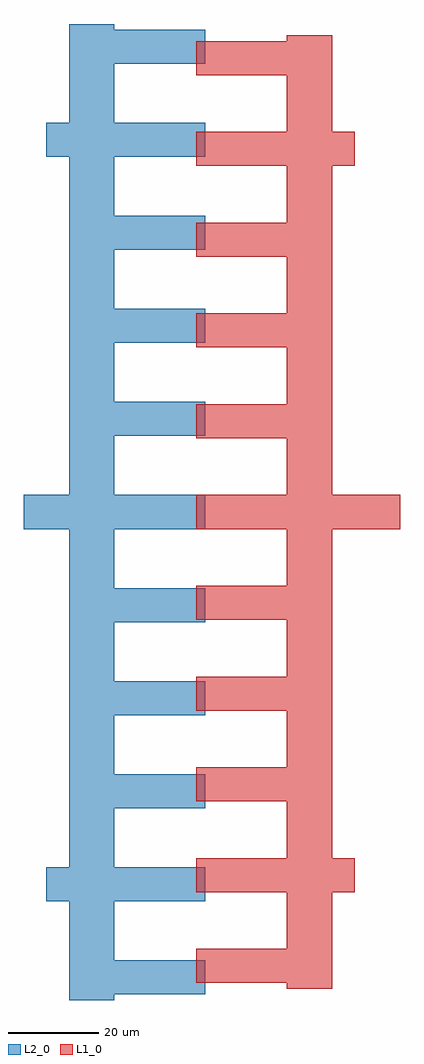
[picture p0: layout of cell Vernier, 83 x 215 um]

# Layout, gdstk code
import gdstk
lib = gdstk.Library(unit=1e-6, precision=1e-09)
def R(c, l, rs):  # rectangles x0, y0, x1, y1
    for r in rs: c.add(gdstk.rectangle(r[:2], r[2:], *l))
def A(c, l, x, y, w, h, nx, ny, dx, dy):  # array of equal rectangles
    R(c, l, [(x+i*dx, y+j*dy, x+i*dx+w, y+j*dy+h) for i in range(nx) for j in range(ny)])
L1_0 = (1, 0)
L2_0 = (2, 0)

vernierlyr1 = lib.new_cell('VernierLyr1')
A(vernierlyr1, L1_0, -25, -63.75, 30, 7.5, 1, 3, 0, 20)
A(vernierlyr1, L1_0, -25, 16.25, 30, 7.5, 1, 3, 0, 20)
R(vernierlyr1, L1_0, [(-5,-105,5,105), (-25,-103.75,5,-96.25), (-25,-83.75,10,-76.25), (-25,-3.75,20,3.75), (-25,76.25,10,83.75), (-25,96.25,5,103.75)])

vernierlyr2 = lib.new_cell('VernierLyr2')
A(vernierlyr2, L2_0, -53, -65.25, 30, 7.5, 1, 3, 0, 20.5)
A(vernierlyr2, L2_0, -53, 16.75, 30, 7.5, 1, 3, 0, 20.5)
R(vernierlyr2, L2_0, [(-53,-107.5,-43,107.5), (-53,-106.25,-23,-98.75), (-58,-85.75,-23,-78.25), (-63,-3.75,-23,3.75), (-58,78.25,-23,85.75), (-53,98.75,-23,106.25)])

vernier = lib.new_cell('Vernier')
vernier.add(gdstk.Reference(vernierlyr1, (0,0)))
vernier.add(gdstk.Reference(vernierlyr2, (0,0)))

lib.write_gds('Vernier.gds')
